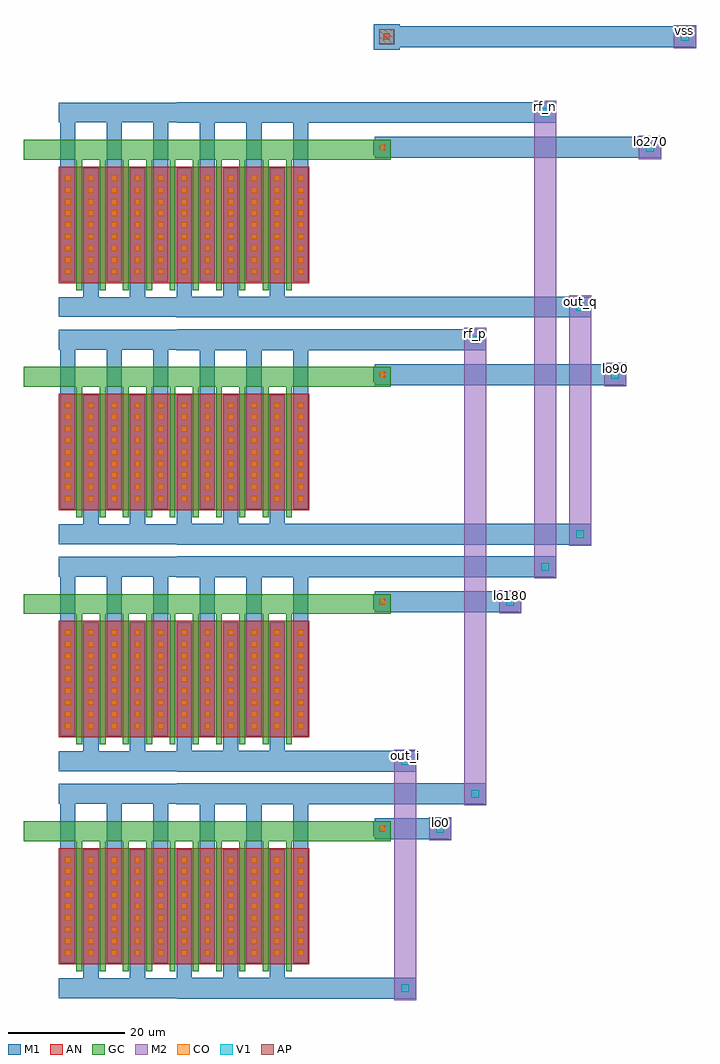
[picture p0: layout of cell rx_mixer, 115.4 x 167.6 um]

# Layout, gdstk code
import gdstk
lib = gdstk.Library(unit=1e-6, precision=1e-09)
def R(c, l, rs):  # rectangles x0, y0, x1, y1
    for r in rs: c.add(gdstk.rectangle(r[:2], r[2:], *l))
def A(c, l, x, y, w, h, nx, ny, dx, dy):  # array of equal rectangles
    R(c, l, [(x+i*dx, y+j*dy, x+i*dx+w, y+j*dy+h) for i in range(nx) for j in range(ny)])
AP = (3, 1)
AN = (3, 2)
GC = (8, 1)
CO = (11, 0)
M1 = (13, 0)
V1 = (19, 0)
M2 = (20, 0)

rx_mixer = lib.new_cell('rx_mixer')
R(rx_mixer, AP, [(58,158,60.6,160.6)])
A(rx_mixer, AN, 3, 0, 43, 20, 1, 4, 0, 39)
A(rx_mixer, GC, 6, -1.2, 1, 22.4, 10, 4, 4, 39)
A(rx_mixer, GC, -3, 21.2, 63, 3.4, 1, 4, 0, 39)
A(rx_mixer, CO, 4, 1.5, 1, 1, 11, 9, 4, 2)
A(rx_mixer, CO, 58, 22.8, 1, 1, 1, 4, 0, 39)
A(rx_mixer, CO, 4, 40.5, 1, 1, 11, 9, 4, 2)
A(rx_mixer, CO, 4, 79.5, 1, 1, 11, 9, 4, 2)
A(rx_mixer, CO, 4, 118.5, 1, 1, 11, 9, 4, 2)
R(rx_mixer, CO, [(58.8,158.8,59.8,159.8)])
A(rx_mixer, M1, 7.2, -5.8, 2.6, 25.6, 5, 4, 8, 39)
A(rx_mixer, M1, 3.2, 0.2, 2.6, 28.3, 6, 4, 8, 39)
A(rx_mixer, M1, 57, 22, 3, 2.6, 1, 4, 0, 39)
R(rx_mixer, M1, [(23.2,-5.9,64.4,-2.3), (3,-5.8,46,-2.4), (57.2,21.5,70.4,25.1), (23.2,27.5,76.4,31.1), (3,27.6,46,31), (23.2,33.1,64.4,36.7), (3,33.2,46,36.6), (57.2,60.5,82.4,64.1), (23.2,66.5,88.4,70.1), (3,66.6,46,70), (23.2,72.1,94.4,75.7), (3,72.2,46,75.6), (57.2,99.5,100.4,103.1), (23.2,105.5,76.4,109.1), (3,105.6,46,109), (23.2,111.1,94.4,114.7), (3,111.2,46,114.6), (57.2,138.5,106.4,142.1), (23.2,144.5,88.4,148.1), (3,144.6,46,148), (57.1,157.1,61.5,161.5), (58,157.5,112.4,161.1)])
R(rx_mixer, V1, [(61.8,-4.8,63.2,-3.4), (67.8,22.6,69.2,24), (73.8,28.6,75.2,30), (61.8,34.2,63.2,35.6), (79.8,61.6,81.2,63), (85.8,67.6,87.2,69), (91.8,73.2,93.2,74.6), (97.8,100.6,99.2,102), (73.8,106.6,75.2,108), (91.8,112.2,93.2,113.6), (103.8,139.6,105.2,141), (85.8,145.6,87.2,147), (109.8,158.6,111.2,160)])
R(rx_mixer, M2, [(60.6,-6.1,64.4,36.9), (66.6,21.3,70.4,25.3), (72.6,27.3,76.4,109.3), (78.6,60.3,82.4,64.3), (84.6,66.3,88.4,148.3), (90.6,71.9,94.4,114.9), (96.6,99.3,100.4,103.3), (102.6,138.3,106.4,142.3), (108.6,157.3,112.4,161.3)])
rx_mixer.add(gdstk.Label('out_i', (62.5,35.9), layer=49, texttype=0))
rx_mixer.add(gdstk.Label('out_q', (92.5,113.9), layer=49, texttype=0))
rx_mixer.add(gdstk.Label('lo0', (68.5,24.3), layer=49, texttype=0))
rx_mixer.add(gdstk.Label('lo90', (98.5,102.3), layer=49, texttype=0))
rx_mixer.add(gdstk.Label('lo180', (80.5,63.3), layer=49, texttype=0))
rx_mixer.add(gdstk.Label('lo270', (104.5,141.3), layer=49, texttype=0))
rx_mixer.add(gdstk.Label('rf_p', (74.5,108.3), layer=49, texttype=0))
rx_mixer.add(gdstk.Label('rf_n', (86.5,147.3), layer=49, texttype=0))
rx_mixer.add(gdstk.Label('vss', (110.5,160.3), layer=49, texttype=0))

lib.write_gds('rx_mixer.gds')
